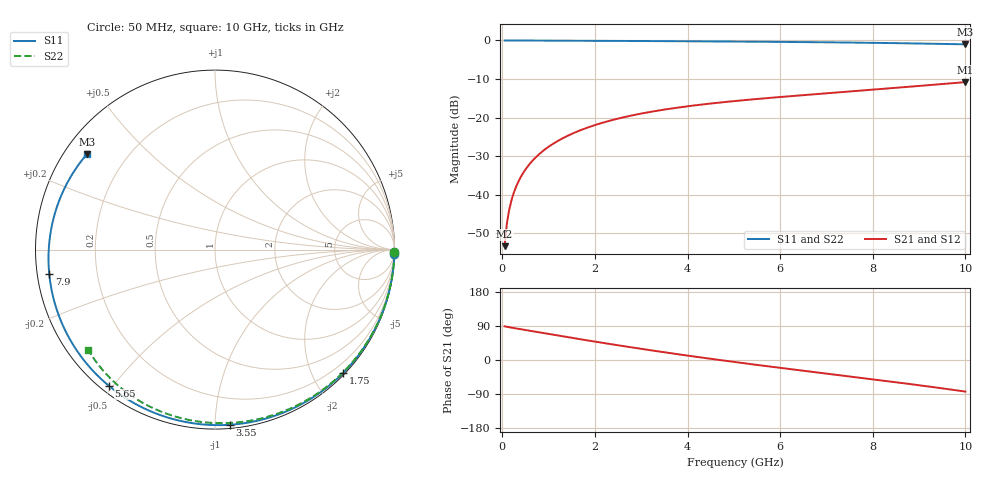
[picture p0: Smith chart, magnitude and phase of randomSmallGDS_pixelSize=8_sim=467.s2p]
! freq	dB(S11)	phase(S11)	dB(S12)	phase(S12)
!  dB(S21)	phase(S21)	dB(S22)	phase(S22)
!S-par simulation data
#  GHz  S  DB  R 50
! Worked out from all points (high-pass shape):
!   200 points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, 50 MHz to 10 GHz, reference 50 ohm
!   highest |S21| = -10.80 dB at 10 GHz (marker M1); lowest = -53.4 dB at 50 MHz (marker M2)
!   |S21| within 3 dB of the highest: 6.903 GHz to end of sweep
!   lowest |S11| = -1.0 dB at 10 GHz (marker M3), VSWR 17.18, Z = 3.23 + j16.6 ohm
!   |S11| at or under -10 dB: nowhere
!   |S22| runs from -0.9 to 0.0 dB; largest |S21 - S12| = 0
!   S11 on the Smith chart (normalised r, x): 50 MHz: 0, -89; 1.75 GHz: 0.03, -2.48; 3.55 GHz: 0.02, -1.09; 5.65 GHz: 0.02, -0.49; 7.9 GHz: 0.03, -0.07; 10 GHz: 0.06, +0.33
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0.05  -0.00 -1.3  -53.35 88.8  -53.35 88.8  -0.00 -0.8
0.1  -0.00 -2.6  -47.34 87.6  -47.34 87.6  -0.00 -1.7
0.15  -0.01 -3.9  -43.84 86.5  -43.84 86.5  -0.00 -2.5
0.2  -0.01 -5.1  -41.36 85.4  -41.36 85.4  -0.00 -3.4
0.35  -0.01 -9.0  -36.55 82.2  -36.55 82.2  -0.01 -5.8
0.5  -0.02 -12.8  -33.47 79.2  -33.47 79.2  -0.01 -8.3
0.7  -0.03 -17.8  -30.58 75.0  -30.58 75.0  -0.02 -11.7
1  -0.04 -25.4  -27.57 68.7  -27.57 68.7  -0.03 -16.6
1.35  -0.06 -34.1  -25.08 61.5  -25.08 61.5  -0.04 -22.3
1.75  -0.08 -43.9  -22.99 53.5  -22.99 53.5  -0.06 -28.8
2.6  -0.12 -63.9  -19.98 36.9  -19.98 36.9  -0.10 -42.3
3.4  -0.17 -81.8  -18.12 22.2  -18.12 22.2  -0.14 -54.5
3.55  -0.18 -85.1  -17.83 19.5  -17.83 19.5  -0.15 -56.8
4.3  -0.23 -100.9  -16.63 6.5  -16.63 6.5  -0.19 -67.8
5.05  -0.28 -116.1  -15.68 -5.8  -15.68 -5.8  -0.24 -78.4
5.65  -0.34 -128.0  -15.02 -15.3  -15.02 -15.3  -0.28 -86.7
6.7  -0.44 -148.3  -13.99 -31.3  -13.99 -31.3  -0.37 -100.6
7.3  -0.51 -159.9  -13.43 -40.3  -13.43 -40.3  -0.43 -108.3
7.9  -0.60 -171.7  -12.87 -49.4  -12.87 -49.4  -0.51 -115.8
8.35  -0.67 179.2  -12.43 -56.3  -12.43 -56.3  -0.57 -121.4
9.2  -0.83 161.3  -11.60 -69.8  -11.60 -69.8  -0.73 -131.8
10  -1.01 143.2  -10.80 -83.3  -10.80 -83.3  -0.91 -141.5
